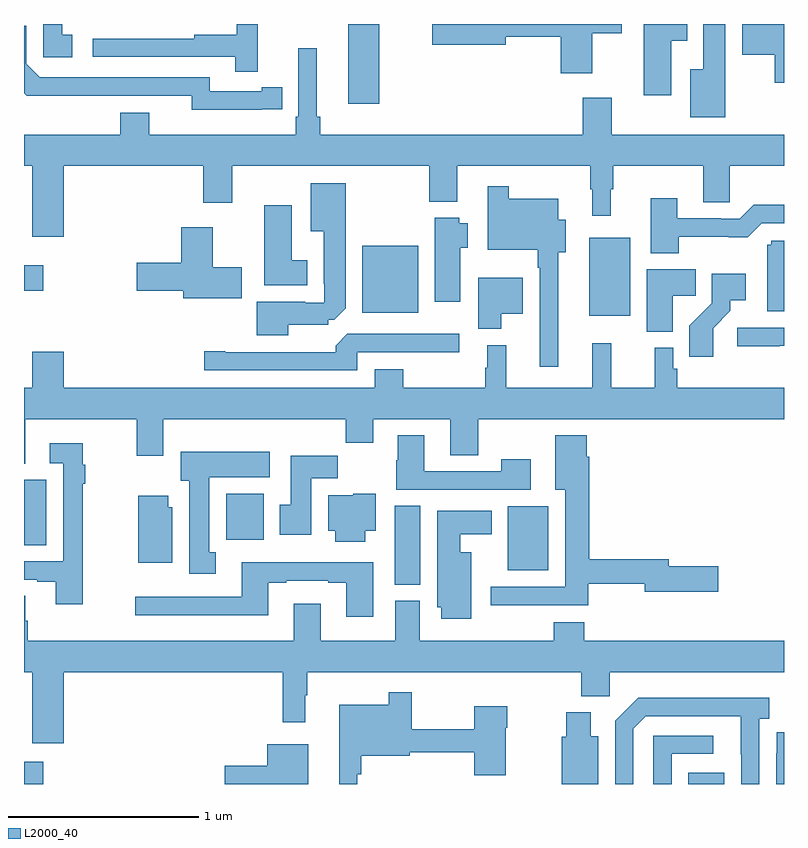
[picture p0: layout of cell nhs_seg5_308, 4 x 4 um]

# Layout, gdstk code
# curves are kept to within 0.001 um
import gdstk
lib = gdstk.Library(unit=1e-6, precision=1e-09)
def R(c, l, rs):  # rectangles x0, y0, x1, y1
    for r in rs: c.add(gdstk.rectangle(r[:2], r[2:], *l))
def P(c, l, *ps):  # polygons
    for p in ps: c.add(gdstk.Polygon(p, *l))
L2000_40 = (2000, 40)

nhs_seg5_308 = lib.new_cell('nhs_seg5_308')
R(nhs_seg5_308, L2000_40, [(129,894.799,129.102,894.916), (132.497,894.799,132.685,894.859), (130.952,895.849,131.086,896.264), (131.546,895.925,131.758,896.26), (129,896.056,129.118,896.4), (130.064,896.084,130.261,896.326), (131.975,897.263,132.19,897.673), (130.781,897.278,131.074,897.631), (129,897.395,129.102,897.529), (130.706,898.38,130.87,898.799)])
P(nhs_seg5_308, L2000_40, [(131.992,898.75),(132.145,898.75),(132.145,898.799),(131.148,898.799),(131.148,898.69),(131.536,898.69),(131.536,898.732),(131.825,898.732),(131.825,898.539),(131.992,898.539)],
  [(132.691,898.799),(132.575,898.799),(132.575,898.561),(132.506,898.561),(132.506,898.307),(132.691,898.307)],
  [(130.229,898.799),(130.119,898.799),(130.119,898.742),(129.895,898.742),(129.895,898.722),(129.363,898.722),(129.363,898.626),(130.111,898.626),(130.111,898.548),(130.229,898.548)],
  [(129.253,898.743),(129.2,898.743),(129.2,898.799),(129.102,898.799),(129.102,898.623),(129.253,898.623)],
  [(132.406,898.712),(132.49,898.712),(132.49,898.799),(132.263,898.799),(132.263,898.425),(132.406,898.425)],
  [(133,898.799),(132.779,898.799),(132.779,898.637),(132.95,898.637),(132.95,898.491),(133,898.491)],
  [(130.25,898.35),(130.358,898.35),(130.358,898.466),(130.25,898.466),(130.25,898.446),(129.978,898.446),(129.978,898.518),(129.084,898.518),(129.012,898.59),(129.012,898.791),(129,898.791),(129,898.435),(129.014,898.421),(129.882,898.422),(129.882,898.349)],
  [(130.443,898.672),(130.443,898.312),(130.43,898.312),(130.43,898.216),(129.658,898.216),(129.658,898.333),(129.506,898.333),(129.506,898.216),(129,898.216),(129,898.052),(129.044,898.052),(129.044,897.678),(129.208,897.678),(129.208,898.052),(129.944,898.052),(129.944,897.858),(130.096,897.858),(130.096,898.052),(131.134,898.052),(131.134,897.863),(131.281,897.863),(131.281,898.052),(131.979,898.052),(131.979,897.929),(131.99,897.929),(131.99,897.789),(132.089,897.789),(132.089,897.929),(132.1,897.929),(132.1,898.052),(132.575,898.052),(132.575,897.862),(132.714,897.862),(132.714,898.052),(133,898.052),(133,898.216),(132.094,898.216),(132.094,898.411),(131.942,898.411),(131.942,898.216),(130.559,898.216),(130.559,898.312),(130.54,898.312),(130.54,898.672)],
  [(130.39,897.215),(130.602,897.215),(130.602,897.243),(130.633,897.243),(130.693,897.303),(130.693,897.961),(130.508,897.961),(130.508,897.707),(130.577,897.707),(130.577,897.433),(130.581,897.433),(130.581,897.333),(130.481,897.333),(130.481,897.337),(130.226,897.337),(130.226,897.161),(130.39,897.161)],
  [(131.812,897.599),(131.851,897.599),(131.851,897.769),(131.812,897.769),(131.812,897.88),(131.551,897.88),(131.551,897.946),(131.442,897.946),(131.442,897.611),(131.703,897.611),(131.703,897.515),(131.715,897.515),(131.715,896.994),(131.812,896.994)],
  [(132.447,897.678),(132.809,897.677),(132.882,897.75),(133,897.75),(133,897.847),(132.841,897.847),(132.768,897.774),(132.668,897.774),(132.668,897.777),(132.439,897.777),(132.439,897.883),(132.299,897.883),(132.299,897.593),(132.447,897.593)],
  [(130.492,897.556),(130.408,897.556),(130.408,897.844),(130.265,897.844),(130.265,897.425),(130.492,897.425)],
  [(131.296,897.622),(131.335,897.622),(131.335,897.751),(131.292,897.751),(131.292,897.778),(131.162,897.778),(131.162,897.336),(131.296,897.336)],
  [(130.147,897.519),(129.994,897.519),(129.994,897.73),(129.827,897.73),(129.827,897.542),(129.594,897.542),(129.594,897.395),(129.839,897.395),(129.839,897.356),(130.147,897.356)],
  [(133,897.657),(132.933,897.657),(132.933,897.636),(132.911,897.636),(132.911,897.288),(133,897.288)],
  [(132.415,897.37),(132.536,897.37),(132.536,897.508),(132.278,897.508),(132.278,897.179),(132.415,897.179)],
  [(132.628,897.199),(132.718,897.289),(132.718,897.344),(132.799,897.344),(132.799,897.484),(132.621,897.484),(132.621,897.329),(132.502,897.21),(132.502,897.048),(132.628,897.048)],
  [(131.512,897.275),(131.626,897.275),(131.626,897.463),(131.39,897.463),(131.39,897.194),(131.512,897.194)],
  [(132.977,897.105),(133,897.105),(133,897.201),(132.753,897.201),(132.753,897.103),(132.977,897.103)],
  [(130.755,897.072),(131.29,897.072),(131.29,897.168),(130.701,897.168),(130.64,897.106),(130.64,897.072),(130.06,897.072),(130.06,897.077),(129.948,897.077),(129.948,896.976),(130.755,896.976)],
  [(129.007,896.72),(129.593,896.72),(129.593,896.526),(129.733,896.526),(129.733,896.72),(130.693,896.72),(130.693,896.596),(130.837,896.596),(130.837,896.72),(131.243,896.72),(131.243,896.53),(131.391,896.53),(131.391,896.72),(133,896.72),(133,896.884),(132.437,896.884),(132.437,896.985),(132.417,896.985),(132.417,897.094),(132.319,897.094),(132.319,896.884),(132.09,896.884),(132.09,897.118),(131.99,897.118),(131.99,896.884),(131.537,896.884),(131.537,897.109),(131.438,897.109),(131.438,896.991),(131.427,896.991),(131.427,896.884),(130.995,896.884),(130.995,896.983),(130.847,896.983),(130.847,896.884),(129.208,896.884),(129.208,897.073),(129.044,897.073),(129.044,896.884),(129,896.884),(129,896.485),(129.007,896.485)],
  [(131.668,896.509),(131.512,896.509),(131.512,896.445),(131.107,896.445),(131.107,896.635),(130.967,896.635),(130.967,896.504),(130.96,896.504),(130.96,896.349),(131.668,896.349)],
  [(131.97,895.854),(132.266,895.854),(132.266,895.811),(132.655,895.811),(132.655,895.946),(132.394,895.946),(132.394,895.982),(131.975,895.982),(131.975,896.522),(131.962,896.522),(131.962,896.635),(131.795,896.635),(131.795,896.348),(131.849,896.348),(131.849,895.836),(131.457,895.836),(131.457,895.739),(131.97,895.739)],
  [(129.308,896.38),(129.323,896.38),(129.323,896.48),(129.308,896.48),(129.308,896.593),(129.135,896.593),(129.135,896.487),(129.207,896.487),(129.207,895.971),(129,895.971),(129,895.875),(129.071,895.875),(129.071,895.863),(129.167,895.863),(129.167,895.746),(129.308,895.746)],
  [(130.009,896.018),(129.976,896.018),(129.976,896.414),(130.294,896.414),(130.294,896.548),(129.824,896.548),(129.824,896.394),(129.869,896.394),(129.869,895.905),(130.009,895.905)],
  [(130.513,896.408),(130.652,896.408),(130.652,896.527),(130.403,896.527),(130.403,896.268),(130.346,896.268),(130.346,896.112),(130.513,896.112)],
  [(130.795,896.132),(130.852,896.132),(130.852,896.326),(130.734,896.326),(130.734,896.32),(130.601,896.32),(130.601,896.132),(130.637,896.132),(130.637,896.075),(130.795,896.075)],
  [(129.781,896.256),(129.76,896.256),(129.76,896.317),(129.602,896.317),(129.602,895.964),(129.781,895.964)],
  [(131.353,896.02),(131.296,896.02),(131.296,896.114),(131.461,896.114),(131.461,896.236),(131.174,896.236),(131.174,895.728),(131.195,895.728),(131.195,895.668),(131.353,895.668)],
  [(130.837,895.966),(130.145,895.966),(130.145,895.785),(129.585,895.785),(129.585,895.688),(130.285,895.688),(130.285,895.857),(130.381,895.857),(130.381,895.869),(130.601,895.869),(130.601,895.857),(130.697,895.857),(130.697,895.68),(130.837,895.68)],
  [(129.208,895.388),(130.363,895.388),(130.363,895.125),(130.48,895.125),(130.48,895.265),(130.492,895.265),(130.492,895.388),(131.933,895.388),(131.933,895.262),(132.084,895.262),(132.084,895.388),(133,895.388),(133,895.552),(131.948,895.552),(131.948,895.651),(131.788,895.651),(131.788,895.552),(131.083,895.552),(131.083,895.764),(130.955,895.764),(130.955,895.552),(130.561,895.552),(130.561,895.747),(130.421,895.747),(130.421,895.552),(129.02,895.552),(129.02,895.658),(129.007,895.658),(129.007,895.79),(129,895.79),(129,895.388),(129.044,895.388),(129.044,895.014),(129.208,895.014)],
  [(130.755,894.851),(130.775,894.851),(130.775,894.947),(131.029,894.947),(131.029,894.966),(131.371,894.966),(131.371,894.846),(131.536,894.846),(131.536,895.094),(131.544,895.094),(131.544,895.207),(131.371,895.207),(131.371,895.087),(131.041,895.087),(131.041,895.282),(130.92,895.282),(130.92,895.216),(130.658,895.216),(130.658,894.799),(130.755,894.799)],
  [(132.207,895.089),(132.273,895.155),(132.773,895.155),(132.774,894.799),(132.87,894.799),(132.87,895.142),(132.922,895.142),(132.922,895.252),(132.232,895.252),(132.111,895.131),(132.111,894.799),(132.207,894.799)],
  [(132.022,895.051),(131.983,895.051),(131.983,895.177),(131.854,895.177),(131.854,895.047),(131.83,895.047),(131.83,894.799),(132.022,894.799)],
  [(133,895.071),(132.961,895.071),(132.961,894.962),(132.96,894.962),(132.96,894.799),(133,894.799)],
  [(132.408,894.957),(132.628,894.957),(132.628,895.053),(132.312,895.053),(132.312,894.799),(132.408,894.799)],
  [(130.495,895.009),(130.28,895.009),(130.28,894.896),(130.056,894.896),(130.056,894.799),(130.495,894.799)])

lib.write_gds('nhs_seg5_308.gds')
